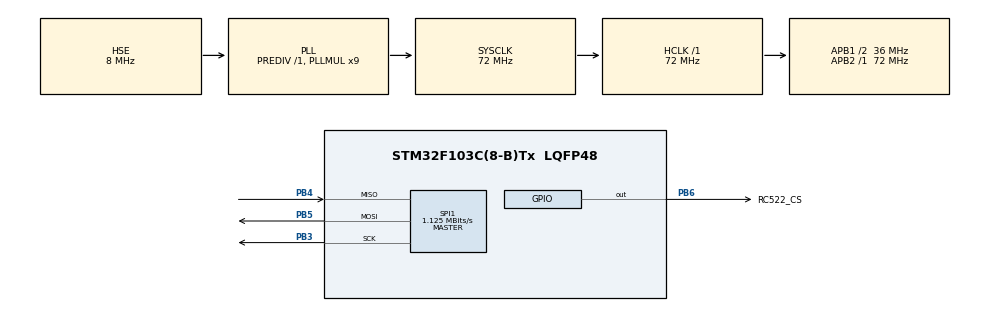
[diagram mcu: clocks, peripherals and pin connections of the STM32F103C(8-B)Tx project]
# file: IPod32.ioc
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FREERTOS.Tasks01=defaultTask,24,128,StartDefaultTask,Default,NULL,Dynamic,NULL,NULL
FREERTOS.configTOTAL_HEAP_SIZE=10000
FREERTOS.configUSE_NEWLIB_REENTRANT=1
Mcu.Family=STM32F1
Mcu.Name=STM32F103C(8-B)Tx
Mcu.Package=LQFP48
NVIC.PriorityGroup=NVIC_PRIORITYGROUP_4
NVIC.TIM4_IRQn=true\:15\:0\:false\:false\:true\:false\:false\:true\:true
NVIC.TimeBase=TIM4_IRQn
NVIC.TimeBaseIP=TIM4
PA13.Mode=Serial_Wire
PA13.Signal=SYS_JTMS-SWDIO
PA14.Mode=Serial_Wire
PA14.Signal=SYS_JTCK-SWCLK
PB3.Mode=Full_Duplex_Master
PB3.Signal=SPI1_SCK
PB4.Mode=Full_Duplex_Master
PB4.Signal=SPI1_MISO
PB5.Mode=Full_Duplex_Master
PB5.Signal=SPI1_MOSI
PB6.GPIO_Label=RC522_CS
PB6.Signal=GPIO_Output
PD0-OSC_IN.Mode=HSE-External-Oscillator
PD0-OSC_IN.Signal=RCC_OSC_IN
PD1-OSC_OUT.Mode=HSE-External-Oscillator
PD1-OSC_OUT.Signal=RCC_OSC_OUT
ProjectManager.HeapSize=0x200
ProjectManager.StackSize=0x400
ProjectManager.TargetToolchain=STM32CubeIDE
RCC.AHBFreq_Value=72000000
RCC.APB1CLKDivider=RCC_HCLK_DIV2
RCC.APB1Freq_Value=36000000
RCC.APB1TimFreq_Value=72000000
RCC.APB2Freq_Value=72000000
RCC.APB2TimFreq_Value=72000000
RCC.HCLKFreq_Value=72000000
RCC.PLLMUL=RCC_PLL_MUL9
RCC.PLLSourceVirtual=RCC_PLLSOURCE_HSE
RCC.SYSCLKFreq_VALUE=72000000
RCC.SYSCLKSource=RCC_SYSCLKSOURCE_PLLCLK
RCC.USBFreq_Value=72000000
SPI1.BaudRatePrescaler=SPI_BAUDRATEPRESCALER_64
SPI1.CalculateBaudRate=1.125 MBits/s
SPI1.Direction=SPI_DIRECTION_2LINES
SPI1.Mode=SPI_MODE_MASTER
SPI1.VirtualType=VM_MASTER
VP_FREERTOS_VS_CMSIS_V2.Mode=CMSIS_V2
VP_SYS_VS_tim4.Mode=TIM4
board=custom

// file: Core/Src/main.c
/* USER CODE BEGIN Header */
/**
  ******************************************************************************
  * @file           : main.c
  * @brief          : Main program body
  ******************************************************************************
  * @attention
  *
  * Copyright (c) 2022 STMicroelectronics.
  * All rights reserved.
  *
  * This software is licensed under terms that can be found in the LICENSE file
  * in the root directory of this software component.
  * If no LICENSE file comes with this software, it is provided AS-IS.
  *
  ******************************************************************************
  */
/* USER CODE END Header */
#include "main.h"
#include "cmsis_os.h"

/* USER CODE BEGIN Includes */
#include "poll_keyboard_task.h"
#include "tx_task.h"
#include "rx_tast.h"
#include "RFIDTask.h"
/* USER CODE END Includes */

/* USER CODE BEGIN PTD */
#include "LCDTask/LCDTask.h"
/* USER CODE END PTD */

 SPI_HandleTypeDef hspi1;

/* Definitions for defaultTask */
osThreadId_t defaultTaskHandle;
const osThreadAttr_t defaultTask_attributes = {
  .name = "defaultTask",
  .stack_size = 128 * 4,
  .priority = (osPriority_t) osPriorityNormal,
};
/* USER CODE BEGIN PV */

osThreadId_t pollKeypadTaskHandle;
const osThreadAttr_t pollKeypad_attributes = {
		.name = "pollKeypadTask",
		.stack_size = 128 * 4,
		.priority = (osPriority_t) osPriorityNormal,
};

osThreadId_t rxTaskHandle;
const osThreadAttr_t rxTask_attributes = {
		.name = "rxTask",
		.stack_size = 128 * 4,
//		.priority = (osPriority_t) osPriorityAboveNormal,
		.priority = (osPriority_t) osPriorityNormal,
};

osThreadId_t txTaskHandle;
const osThreadAttr_t txTask_attributes = {
		.name = "txTask",
		.stack_size = 128*4,
		.priority = (osPriority_t) osPriorityNormal,
};

osThreadId_t lcdTaskHandle;
const osThreadAttr_t lcdTask_attributes = {
		.name = "lcdTask",
		.stack_size = 128 * 16,
		.priority = (osPriority_t) osPriorityNormal,
};

osThreadId_t rfidTaskHandle;
const osThreadAttr_t rfidTask_attributes = {
		.name = "rfidTask",
		.stack_size = 128 * 4,
		.priority = (osPriority_t) osPriorityNormal,
};

osMessageQueueId_t inputQueueHandle;
const osMessageQueueAttr_t inputQueue_attributes = {
		.name = "inputQueue",
};

/* USER CODE END PV */

void SystemClock_Config(void);
static void MX_GPIO_Init(void);
static void MX_SPI1_Init(void);
void StartDefaultTask(void *argument);

int main(void)
{

  /* MCU Configuration--------------------------------------------------------*/

  /* Reset of all peripherals, Initializes the Flash interface and the Systick. */
  HAL_Init();

  /* Configure the system clock */
  SystemClock_Config();

  /* Initialize all configured peripherals */
  MX_GPIO_Init();
  MX_SPI1_Init();
  /* USER CODE BEGIN 2 */
  USER_RCC_Init();
  USER_GPIO_Init();
  USER_USART1_Init();
  /* USER CODE END 2 */

  /* Init scheduler */
  osKernelInitialize();

  /* USER CODE BEGIN RTOS_QUEUES */
  /* add queues, ... */
  inputQueueHandle = osMessageQueueNew(20, sizeof(uint8_t), &inputQueue_attributes);
  /* USER CODE END RTOS_QUEUES */

  /* Create the thread(s) */
  /* creation of defaultTask */
  defaultTaskHandle = osThreadNew(StartDefaultTask, NULL, &defaultTask_attributes);

  /* USER CODE BEGIN RTOS_THREADS */
  /* add threads, ... */
  rxTaskHandle = osThreadNew(receive_data_task, NULL, &rxTask_attributes);
  lcdTaskHandle = osThreadNew(lcd_task, NULL, &lcdTask_attributes);
  txTaskHandle = osThreadNew(transmit_data_task, NULL, &txTask_attributes);
  pollKeypadTaskHandle = osThreadNew(poll_keyboard_button_task, NULL, &pollKeypad_attributes);
  rfidTaskHandle = osThreadNew(rfid_task, NULL, &rfidTask_attributes);
  /* USER CODE END RTOS_THREADS */

  /* Start scheduler */
  osKernelStart();

  /* We should never get here as control is now taken by the scheduler */
  /* Infinite loop */
  while (1)
  {

  }
}

void SystemClock_Config(void)
{
  RCC_OscInitTypeDef RCC_OscInitStruct = {0};
  RCC_ClkInitTypeDef RCC_ClkInitStruct = {0};

  /** Initializes the RCC Oscillators according to the specified parameters
  * in the RCC_OscInitTypeDef structure.
  */
  RCC_OscInitStruct.OscillatorType = RCC_OSCILLATORTYPE_HSE;
  RCC_OscInitStruct.HSEState = RCC_HSE_ON;
  RCC_OscInitStruct.HSEPredivValue = RCC_HSE_PREDIV_DIV1;
  RCC_OscInitStruct.HSIState = RCC_HSI_ON;
  RCC_OscInitStruct.PLL.PLLState = RCC_PLL_ON;
  RCC_OscInitStruct.PLL.PLLSource = RCC_PLLSOURCE_HSE;
  RCC_OscInitStruct.PLL.PLLMUL = RCC_PLL_MUL9;
  if (HAL_RCC_OscConfig(&RCC_OscInitStruct) != HAL_OK)
  {
    Error_Handler();
  }

  /** Initializes the CPU, AHB and APB buses clocks
  */
  RCC_ClkInitStruct.ClockType = RCC_CLOCKTYPE_HCLK|RCC_CLOCKTYPE_SYSCLK
                              |RCC_CLOCKTYPE_PCLK1|RCC_CLOCKTYPE_PCLK2;
  RCC_ClkInitStruct.SYSCLKSource = RCC_SYSCLKSOURCE_PLLCLK;
  RCC_ClkInitStruct.AHBCLKDivider = RCC_SYSCLK_DIV1;
  RCC_ClkInitStruct.APB1CLKDivider = RCC_HCLK_DIV2;
  RCC_ClkInitStruct.APB2CLKDivider = RCC_HCLK_DIV1;

  if (HAL_RCC_ClockConfig(&RCC_ClkInitStruct, FLASH_LATENCY_2) != HAL_OK)
  {
    Error_Handler();
  }
}

static void MX_SPI1_Init(void)
{

  /* SPI1 parameter configuration*/
  hspi1.Instance = SPI1;
  hspi1.Init.Mode = SPI_MODE_MASTER;
  hspi1.Init.Direction = SPI_DIRECTION_2LINES;
  hspi1.Init.DataSize = SPI_DATASIZE_8BIT;
  hspi1.Init.CLKPolarity = SPI_POLARITY_LOW;
  hspi1.Init.CLKPhase = SPI_PHASE_1EDGE;
  hspi1.Init.NSS = SPI_NSS_SOFT;
  hspi1.Init.BaudRatePrescaler = SPI_BAUDRATEPRESCALER_64;
  hspi1.Init.FirstBit = SPI_FIRSTBIT_MSB;
  hspi1.Init.TIMode = SPI_TIMODE_DISABLE;
  hspi1.Init.CRCCalculation = SPI_CRCCALCULATION_DISABLE;
  hspi1.Init.CRCPolynomial = 10;
  if (HAL_SPI_Init(&hspi1) != HAL_OK)
  {
    Error_Handler();
  }

}

static void MX_GPIO_Init(void)
{
  GPIO_InitTypeDef GPIO_InitStruct = {0};

  /* GPIO Ports Clock Enable */
  __HAL_RCC_GPIOD_CLK_ENABLE();
  __HAL_RCC_GPIOA_CLK_ENABLE();
  __HAL_RCC_GPIOB_CLK_ENABLE();

  /*Configure GPIO pin Output Level */
  HAL_GPIO_WritePin(RC522_CS_GPIO_Port, RC522_CS_Pin, GPIO_PIN_RESET);

  /*Configure GPIO pin : RC522_CS_Pin */
  GPIO_InitStruct.Pin = RC522_CS_Pin;
  GPIO_InitStruct.Mode = GPIO_MODE_OUTPUT_PP;
  GPIO_InitStruct.Pull = GPIO_NOPULL;
  GPIO_InitStruct.Speed = GPIO_SPEED_FREQ_LOW;
  HAL_GPIO_Init(RC522_CS_GPIO_Port, &GPIO_InitStruct);

}

/* USER CODE BEGIN 4 */
void USER_USART1_Init(void) {
//	USART1->BRR	=	0x1D4C; //9600
//	USART1->BRR	=	0x027A; //115200
	USART1->BRR	=	0x3A98; //4800
	USART1->CR1 &=	~USART_CR1_M
				&	~USART_CR1_WAKE
				&	~USART_CR1_PCE
				&	~USART_CR1_TXEIE
				&	~USART_CR1_TCIE
				&	~USART_CR1_RXNEIE
				&	~USART_CR1_IDLEIE
				&	~USART_CR1_RWU
				&	~USART_CR1_SBK;
	USART1->CR1	|=	USART_CR1_UE
				|	USART_CR1_TE
				|	USART_CR1_RE;
	USART1->CR2 &=	~USART_CR2_STOP;
}

void config_pin(GPIO_TypeDef *port, uint8_t pin, uint8_t mode){
	uint8_t modeBits, configBits;
	uint8_t finalBits;
	if(mode == 0){
		//Input
		modeBits = 0b00;
		configBits = 0b01;
	} else if(mode == 1){
		//Output
		modeBits = 0b01;
		configBits = 0b00;
	} else{
		//Input with pullup
		modeBits = 0b00;
		configBits = 0b10;
		port->ODR |= (0b1) << pin;
	}

	finalBits = (0b1100 & (configBits << 2));
	finalBits |= modeBits & 0b11;

	if(mode < 8){
		//Low reg
		port->CRL &= ~(0b1111 << pin * 4);
		port->CRL |= (0b1111 << pin * 4) & (finalBits << pin * 4);
	} else {
		//High reg
		pin -= 8;
		port->CRH &= ~(0b1111 << pin * 4);
		port->CRH |= (0b1111 << pin * 4) & (finalBits << pin * 4);
	}
}

void USER_RCC_Init(void){
	RCC->APB1ENR |= RCC_APB1ENR_TIM2EN;
	RCC->APB2ENR	|=	RCC_APB2ENR_USART1EN
						|	RCC_APB2ENR_IOPCEN
						|	RCC_APB2ENR_IOPAEN;
}

void USER_GPIO_Init(void){
	//Configure serial terminal
	GPIOA->CRH	&= ~GPIO_CRH_CNF9_0 & ~GPIO_CRH_MODE9_1;
	GPIOA->CRH	|= GPIO_CRH_CNF9_1 | GPIO_CRH_MODE9_0;

	GPIOA->CRH &=	~GPIO_CRH_CNF10_1 & ~GPIO_CRH_MODE10;
	GPIOA->CRH |=	GPIO_CRH_CNF10_0;

	GPIOA->BSRR	=	GPIO_BSRR_BS13;

	GPIOC->CRH	&=	~GPIO_CRH_CNF13 & ~GPIO_CRH_MODE13_1;
	GPIOC->CRH	|=	GPIO_CRH_MODE13_0;

	//Configure pins for keypad
	config_pin(GPIOA, 0, 2);
	config_pin(GPIOA, 1, 2);
	config_pin(GPIOA, 2, 2);
	config_pin(GPIOA, 3, 2);
	config_pin(GPIOA, 4, 1);
	config_pin(GPIOA, 5, 1);
	config_pin(GPIOA, 6, 1);
	config_pin(GPIOA, 7, 1);
	config_pin(GPIOC, 13, 1);
}
/* USER CODE END 4 */

void StartDefaultTask(void *argument)
{
  for(;;)
  {
    osDelay(1);
  }
}

void HAL_TIM_PeriodElapsedCallback(TIM_HandleTypeDef *htim)
{
  if (htim->Instance == TIM4) {
    HAL_IncTick();
  }
}

void Error_Handler(void)
{
  __disable_irq();
  while (1)
  {
  }
}
